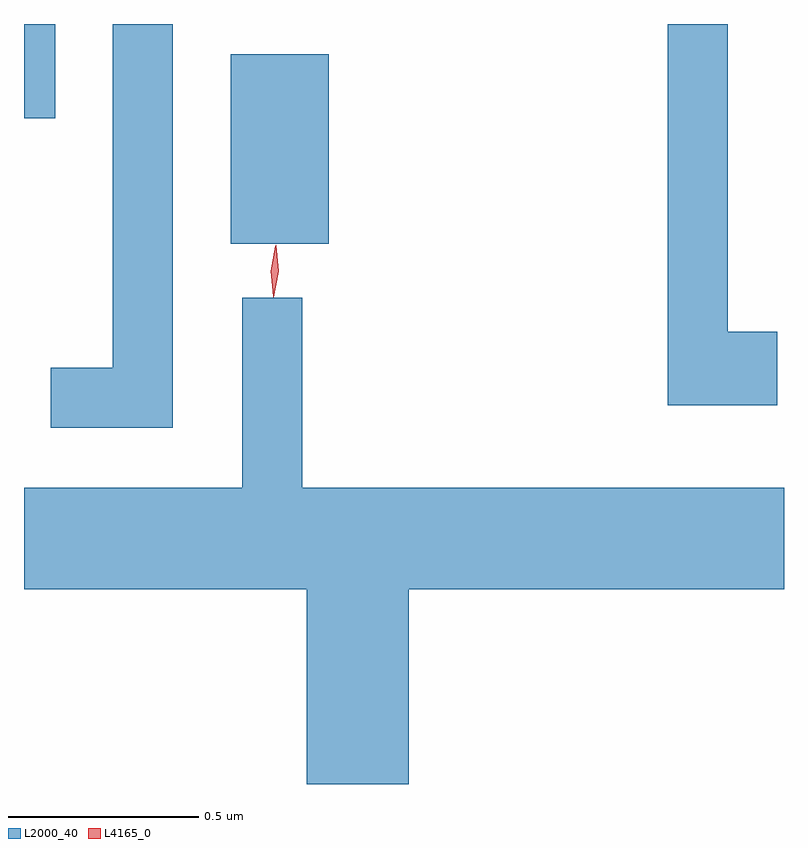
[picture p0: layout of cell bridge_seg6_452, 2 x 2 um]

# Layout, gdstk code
import gdstk
lib = gdstk.Library(unit=1e-6, precision=1e-09)
def R(c, l, rs):  # rectangles x0, y0, x1, y1
    for r in rs: c.add(gdstk.rectangle(r[:2], r[2:], *l))
def P(c, l, *ps):  # polygons
    for p in ps: c.add(gdstk.Polygon(p, *l))
L2000_40 = (2000, 40)
L4165_0 = (4165, 0)

bridge_seg6_452 = lib.new_cell('bridge_seg6_452')
R(bridge_seg6_452, L2000_40, [(974.116,1604.226,974.374,1604.724), (973.572,1604.556,973.654,1604.804)])
P(bridge_seg6_452, L2000_40, [(975.554,1603.994),(975.424,1603.994),(975.424,1604.804),(975.266,1604.804),(975.266,1603.801),(975.554,1603.801)],
  [(973.964,1604.804),(973.806,1604.804),(973.806,1603.899),(973.643,1603.899),(973.643,1603.741),(973.964,1603.741)],
  [(974.584,1603.316),(975.572,1603.316),(975.572,1603.584),(974.304,1603.584),(974.304,1604.083),(974.146,1604.083),(974.146,1603.584),(973.572,1603.584),(973.572,1603.316),(974.316,1603.316),(974.316,1602.804),(974.584,1602.804)])
P(bridge_seg6_452, L4165_0, [(974.228,1604.085),(974.228,1604.085),(974.222,1604.154),(974.235,1604.222),(974.236,1604.222),(974.236,1604.222),(974.242,1604.153),(974.229,1604.085)],
  [(974.228,1604.088),(974.228,1604.088),(974.221,1604.154),(974.233,1604.219),(974.233,1604.219),(974.234,1604.219),(974.241,1604.153),(974.229,1604.088)])

lib.write_gds('bridge_seg6_452.gds')
